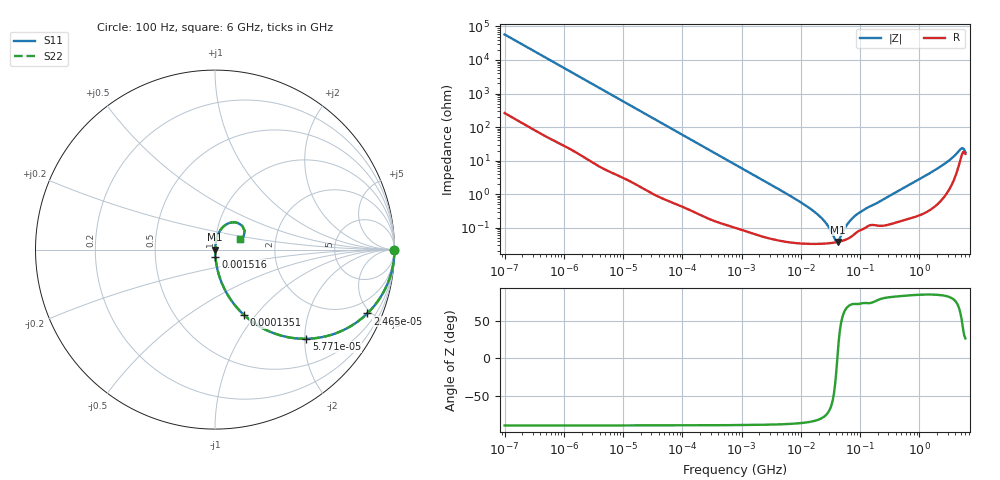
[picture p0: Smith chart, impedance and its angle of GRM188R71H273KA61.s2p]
!Murata Part Number: GRM188R71H273KA61
!These Parameters are Measured in Series Mode Connection
!Data Generated on Mar 30, 2021
!  o--ll--o
!Port1  Port2
!  o------o
!Operation Temp=25[degC], DC Bias Voltage=0[V]
!Freq. Start=100[Hz] Stop=6[GHz] 401[Steps]
# Hz S RI R 50
!Freq.(Hz) S11(Real) S11(Imag) S21(Real) S21(Imag) S12(Real) S12(Imag) S22(Real) S22(Imag)
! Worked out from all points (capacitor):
!   401 points, 100 Hz to 6 GHz, reference 50 ohm
!   read as one part in series: C = 27.6 nF near 109 Hz
!   lowest |Z| = 37.4 mohm at 41.66 MHz (marker M1)
!   series resonance near 41.31 MHz, so ESL is about 540 pH
!   S11 on the Smith chart (normalised r, x): 100 Hz: open; 24.65 kHz: 1.03, -4.76; 57.71 kHz: 1.01, -2.04; 135.1 kHz: 1.01, -0.87; 1.516 MHz: 1.00, -0.08; 6 GHz: 1.32, +0.16
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100  1 -0.00173  1.09e-05 0.00173  1.09e-05 0.00173  1 -0.00173
2008  0.9986 -0.0345  0.00135 0.0345  0.00135 0.0345  0.9986 -0.0345
8047  0.9807 -0.135  0.0193 0.135  0.0193 0.135  0.9807 -0.135
24648  0.8485 -0.3558  0.1515 0.3558  0.1515 0.3558  0.8485 -0.3558
40335  0.6785 -0.4642  0.3215 0.4642  0.3215 0.4642  0.6785 -0.4642
57709  0.5092 -0.4968  0.4908 0.4968  0.4908 0.4968  0.5092 -0.4968
135116  0.162 -0.3647  0.838 0.3647  0.838 0.3647  0.162 -0.3647
264476  0.0493 -0.2123  0.9507 0.2123  0.9507 0.2123  0.0493 -0.2123
774597  0.00684 -0.0762  0.9932 0.0762  0.9932 0.0762  0.00684 -0.0762
1516199  0.00222 -0.0393  0.9978 0.0393  0.9978 0.0393  0.00222 -0.0393
1.555665e7  0.000339 -0.00333  0.9997 0.00333  0.9997 0.00333  0.000339 -0.00333
2.545746e7  0.000337 -0.00147  0.9997 0.00147  0.9997 0.00147  0.000337 -0.00147
3.80911e7  0.000362 -0.000238  0.9996 0.000238  0.9996 0.000238  0.000362 -0.000238
4.165952e7  0.000373 2.5e-05  0.9996 -2.5e-05  0.9996 -2.5e-05  0.000373 2.5e-05
4.556224e7  0.000387 0.000289  0.9996 -0.000289  0.9996 -0.000289  0.000387 0.000289
5.960426e7  0.000454 0.0011  0.9995 -0.0011  0.9995 -0.0011  0.000454 0.0011
8.154455e7  0.000661 0.00213  0.9993 -0.00213  0.9993 -0.00213  0.000661 0.00213
3.124326e8  0.00132 0.00874  0.9987 -0.00874  0.9987 -0.00874  0.00132 0.00874
2.048624e9  0.00845 0.058  0.9916 -0.058  0.9916 -0.058  0.00845 0.058
3.666503e9  0.0354 0.1159  0.9646 -0.1159  0.9646 -0.1159  0.0354 0.1159
4.796499e9  0.1064 0.1524  0.8936 -0.1524  0.8936 -0.1524  0.1064 0.1524
6e9  0.1414 0.0595  0.8586 -0.0595  0.8586 -0.0595  0.1414 0.0595
